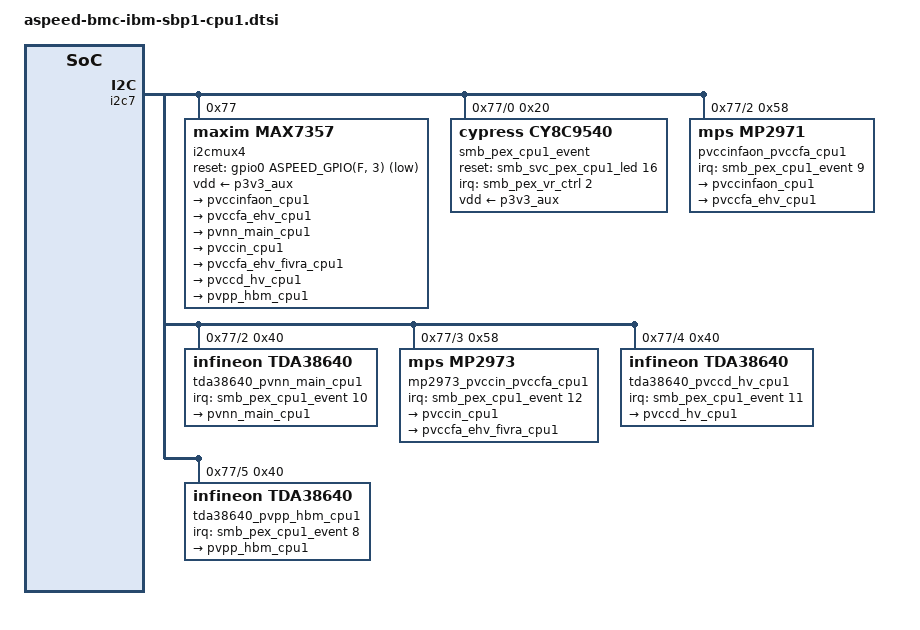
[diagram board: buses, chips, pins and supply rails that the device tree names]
&i2c7 { // BMC_MUX_CPU1 TODO: Figureout right regulator
	status = "okay";
	// Bus frequency limited to 100KHz by cy8c9540

	i2cmux4: mux@77 {
		#address-cells = <1>;
		#size-cells = <0>;
		compatible = "maxim,max7357";
		reg = <0x77>;
		reset-gpios = <&gpio0 ASPEED_GPIO(F, 3) (GPIO_ACTIVE_LOW | GPIO_OPEN_DRAIN)>; // BMC_MUX_CPU1_RST_INT_N
		vdd-supply = <&p3v3_aux>;

		i2c@0 { // SMB_PEX_CPU1_EVENT
			#address-cells = <1>;
			#size-cells = <0>;
			reg = <0>;
			smb_pex_cpu1_event: U62090@20 {
				#address-cells = <1>;
				#size-cells = <0>;
				compatible = "cypress,cy8c9540";
				reg = <0x20>;
				gpio-controller;
				#gpio-cells = <2>;
				#interrupt-cells=<2>;
				interrupt-parent = <&smb_pex_vr_ctrl>;
				interrupts = <2 IRQ_TYPE_LEVEL_HIGH>; // SMB_PEX_CPU1_EVENT_INT
				interrupt-controller;
				vdd-supply = <&p3v3_aux>;
				// Reset is PEX_CPU1_EVENT_RST
				reset-gpios = <&smb_svc_pex_cpu1_led 16 GPIO_ACTIVE_HIGH>;
				ngpios = <17>;
				//FIXME: Used by unit testing. Uncomment on release.
				gpio-reserved-ranges = <14 2>, <21 1>, <25 3>, <33 1>;

				gpio-line-names =
				/* GPORT0 */
				"PWRGD_CHD_CPU1", "PWRGD_CHC_CPU1",
				"PWRGD_CHB_CPU1", "PWRGD_CHA_CPU1",
				"PWRGD_CHE_CPU1", "PWRGD_CHF_CPU1",
				"PWRGD_CHG_CPU1", "PWRGD_CHH_CPU1",
				/* GPORT1*/
				"SMB_VR_PVPP_HBM_CPU1_ALERT_N", "SMB_VR_PVCCINFAON_CPU1_ALERT_N",
				"SMB_VR_PVNN_MAIN_CPU1_ALERT_N", "SMB_VR_PVCCD_HV_CPU1_ALERT_N",
				"SMB_VR_PVCCIN_CPU1_ALERT_N", "SEL_SMB_DIMM_CPU1",
				"", "",
				/* GPORT2*/
				"PWRGD_LVC3_CPU1_AB_DRAM_G", "PWRGD_LVC3_CPU1_CD_DRAM_G",
				"PWRGD_LVC3_CPU1_EF_DRAM_G", "PWRGD_LVC3_CPU1_GH_DRAM_G",
				/* GPORT3*/
				"FM_CPU1_DISABLE_COD_N", "",
				"RST_LVC3_CPU1_RESET_N", "PWRGD_LVC3_CPU1_PWRGOOD",
				"PWRGD_PLT_AUX_CPU1_LVT3", "",
				"", "",
				/* GPORT4*/
				"H_LVT3_CPU1_PROCHOT_N", "H_LVT3_CPU1_MEMHOT_IN_N",
				"H_LVT3_CPU1_MEMHOT_OUT_N", "H_LVT3_CPU1_MEMTRIP_OUT_N",
				"H_LVT3_CPU1_THERMTRIP_OUT_N", "",
				"H_LVT3_CPU1_NMI", "FM_S3M_CPU1_CD_INIT_ERROR",
				/* GPORT5*/
				"FM_CPU1_PKG_ID0", "FM_CPU1_PKG_ID1",
				"FM_CPU1_PROC_ID0", "FM_CPU1_PROC_ID1";

				pinctrl-0 = <&U62090_pins>;
				pinctrl-names = "default";
				U62090_pins: pin-cfg {
					input {
						pins = "gp10", "gp11", "gp12", "gp13", "gp14",
						"gp40", "gp47", "gp50", "gp51", "gp52", "gp53";
						function = "gpio";
						input-enable;
					};
					input_pullup {
						pins = "gp00", "gp01", "gp02", "gp03", "gp04",
						"gp05", "gp06", "gp07", "gp30", "gp41", "gp42",
						"gp43", "gp44", "gp46";
						function = "gpio";
						input-enable;
						bias-pull-up;
					};
					out-low {
						pins = "gp15", "gp20", "gp21", "gp22", "gp23",
						"gp32", "gp33", "gp34";
						function = "gpio";
						output-enable;
						output-low;
					};
				};
			};
		};
		i2c@1 { // SMB_PIROM_CPU1
			#address-cells = <1>;
			#size-cells = <0>;
			reg = <1>;
		};
		i2c@2 { // SMB_VR_PVCCINFAON_CPU1
			#address-cells = <1>;
			#size-cells = <0>;
			reg = <2>;
			pvccinfaon_pvccfa_cpu1@58 {
				compatible = "mps,mp2971";
				reg = <0x58>;
				// using  SMB_VR_PVCCINFAON_CPU1_ALERT_N
				interrupt-parent = <&smb_pex_cpu1_event>;
				interrupts = <9 IRQ_TYPE_LEVEL_LOW>;

				regulators {
					pvccinfaon_cpu1: vout0 {
						regulator-compatible = "vout0";
						regulator-name = "pvccinfaon_cpu1";
						regulator-enable-ramp-delay = <200>;
						vin-supply = <&p5v>;
					};
					pvccfa_ehv_cpu1: vout1 {
						regulator-compatible = "vout1";
						regulator-name = "pvccfa_ehv_cpu1";
						regulator-enable-ramp-delay = <200>;
						vin-supply = <&p5v>;
					};
				};
			};
			tda38640_pvnn_main_cpu1@40 {
				compatible = "infineon,tda38640";
				reg = <0x40>;
				// using SMB_VR_PVNN_MAIN_CPU1_ALERT_N
				interrupt-parent = <&smb_pex_cpu1_event>;
				interrupts = <10 IRQ_TYPE_LEVEL_LOW>;
				regulators {
					pvnn_main_cpu1: vout0 {
						regulator-compatible = "vout0";
						regulator-name = "pvnn_main_cpu1";
						regulator-enable-ramp-delay = <200>;
						vin-supply = <&p12v_a>;
					};
				};
			};
		};
		i2c@3 { // SMB_VR_PVCCIN_CPU1
			#address-cells = <1>;
			#size-cells = <0>;
			reg = <3>;
			mp2973_pvccin_pvccfa_cpu1@58 {
				compatible = "mps,mp2973";
				reg = <0x58>;
				// using SMB_VR_PVCCIN_CPU1_ALERT
				interrupt-parent = <&smb_pex_cpu1_event>;
				interrupts = <12 IRQ_TYPE_LEVEL_LOW>;

				regulators {
					pvccin_cpu1: vout0 {
						regulator-compatible = "vout0";
						regulator-name = "pvccin_cpu1";
						regulator-enable-ramp-delay = <200>;
						vin-supply = <&p5v>;
					};
					pvccfa_ehv_fivra_cpu1: vout1 {
						regulator-compatible = "vout1";
						regulator-name = "pvccfa_ehv_fivra_cpu1";
						regulator-enable-ramp-delay = <200>;
						vin-supply = <&p5v>;
					};
				};
			};
		};
		i2c@4 { // SMB_VR_PVCCD_HV_CPU1
			#address-cells = <1>;
			#size-cells = <0>;
			reg = <4>;
			tda38640_pvccd_hv_cpu1@40 {
				compatible = "infineon,tda38640";
				reg = <0x40>;
				// using  SMB_VR_PVCCD_HV_CPU1_ALERT_N
				interrupt-parent = <&smb_pex_cpu1_event>;
				interrupts = <11 IRQ_TYPE_LEVEL_LOW>;
				infineon,en-pin-fixed-level = <0>;
				regulators {
					pvccd_hv_cpu1: vout0 {
						regulator-compatible = "vout0";
						regulator-name = "pvccd_hv_cpu1";
						regulator-enable-ramp-delay = <200>;
						vin-supply = <&p12v_a>;
					};
				};
			};
		};
		i2c@5 { // SMB_VR_PVPP_HBM_CPU1
			#address-cells = <1>;
			#size-cells = <0>;
			reg = <5>;
			tda38640_pvpp_hbm_cpu1@40 {
				compatible = "infineon,tda38640";
				reg = <0x40>;
				// using   SMB_VR_PVPP_HBM_CPU1_ALERT_N
				interrupt-parent = <&smb_pex_cpu1_event>;
				interrupts = <8 IRQ_TYPE_LEVEL_LOW>;
				regulators {
					pvpp_hbm_cpu1: vout0 {
						regulator-compatible = "vout0";
						regulator-name = "pvpp_hbm_cpu1";
						regulator-enable-ramp-delay = <200>;
						vin-supply = <&p12v_a>;
					};
				};
			};
		};
		i2c@6 { // I2C_DDRABCD_CPU1_BMC
			#address-cells = <1>;
			#size-cells = <0>;
			reg = <6>;
		};
		i2c@7 { // I2C_DDREFGH_CPU1
			#address-cells = <1>;
			#size-cells = <0>;
			reg = <7>;
		};
	};
};
